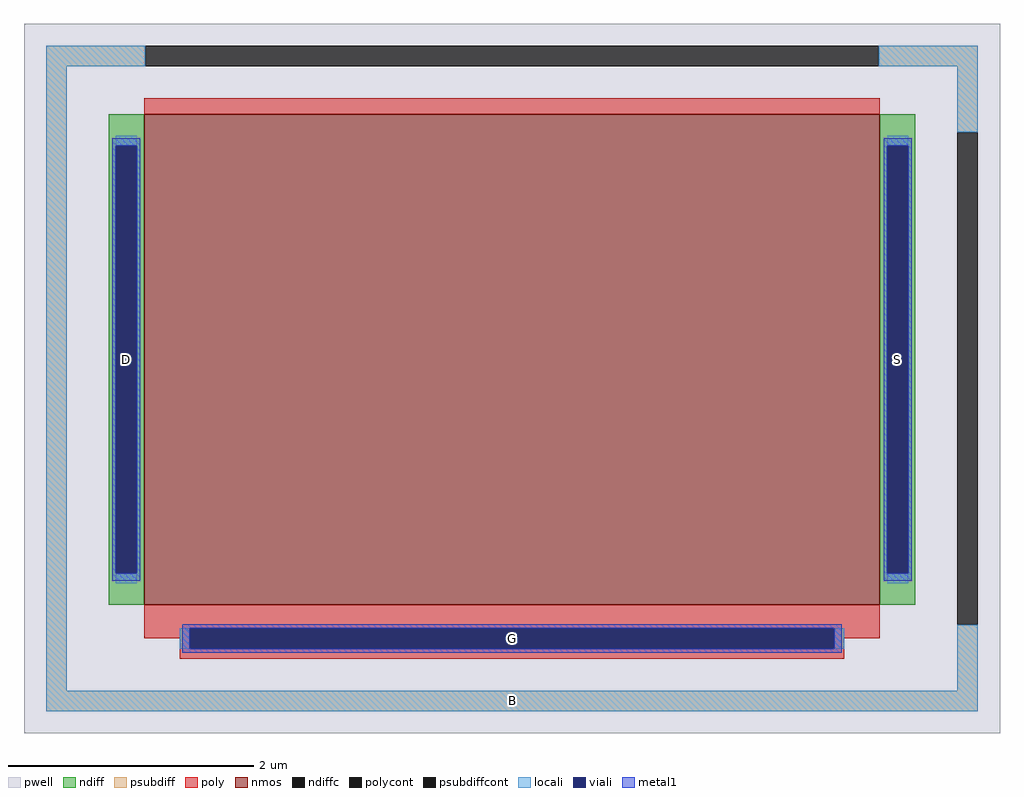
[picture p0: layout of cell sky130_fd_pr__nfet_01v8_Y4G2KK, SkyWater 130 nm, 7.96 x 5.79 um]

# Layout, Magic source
magic
tech sky130A
magscale 1 2
<< pwell >>
rect -796 -579 796 579
<< nmos >>
rect -600 -369 600 431
<< ndiff >>
rect -658 380 -600 431
rect -658 -318 -646 380
rect -612 -318 -600 380
rect -658 -369 -600 -318
rect 600 380 658 431
rect 600 -318 612 380
rect 646 -318 658 380
rect 600 -369 658 -318
<< ndiffc >>
rect -646 -318 -612 380
rect 612 -318 646 380
<< psubdiff >>
rect -760 509 -598 543
rect 598 509 760 543
rect -760 -509 -726 509
rect 726 402 760 509
rect 726 -509 760 -402
rect -760 -543 760 -509
<< psubdiffcont >>
rect -598 509 598 543
rect 726 -402 760 402
<< poly >>
rect -600 431 600 457
rect -600 -407 600 -369
rect -600 -424 -526 -407
rect -542 -441 -526 -424
rect 526 -424 600 -407
rect 526 -441 542 -424
rect -542 -457 542 -441
<< polycont >>
rect -526 -441 526 -407
<< locali >>
rect -760 509 -598 543
rect 598 509 760 543
rect -760 -509 -726 509
rect 726 402 760 509
rect -646 380 -612 396
rect -646 -334 -612 -318
rect 612 380 646 396
rect 612 -334 646 -318
rect -542 -441 -526 -407
rect 526 -441 542 -407
rect 726 -509 760 -402
rect -760 -543 760 -509
<< viali >>
rect -646 -318 -612 380
rect 612 -318 646 380
rect -526 -441 526 -407
<< metal1 >>
rect -652 380 -606 392
rect -652 -318 -646 380
rect -612 -318 -606 380
rect -652 -330 -606 -318
rect 606 380 652 392
rect 606 -318 612 380
rect 646 -318 652 380
rect 606 -330 652 -318
rect -538 -407 538 -401
rect -538 -441 -526 -407
rect 526 -441 538 -407
rect -538 -447 538 -441
<< labels >>
rlabel psubdiff 0 -526 0 -526 0 B
port 1 nsew
rlabel ndiffc -629 31 -629 31 0 D
port 2 nsew
rlabel ndiffc 629 31 629 31 0 S
port 3 nsew
rlabel polycont 0 -424 0 -424 0 G
port 4 nsew
<< properties >>
string FIXED_BBOX -743 -526 743 526
string gencell sky130_fd_pr__nfet_01v8
string library sky130
string parameters w 4 l 6 m 1 nf 1 diffcov 90 polycov 90 guard 1 glc 0 grc 1 gtc 1 gbc 0 tbcov 90 rlcov 90 topc 0 botc 1 poverlap 0 doverlap 1 lmin 0.15 wmin 0.42 class mosfet compatible {sky130_fd_pr__nfet_01v8 sky130_fd_pr__nfet_01v8_lvt  sky130_fd_bs_flash__special_sonosfet_star  sky130_fd_pr__nfet_g5v0d10v5 sky130_fd_pr__nfet_05v0_nvt  sky130_fd_pr__nfet_03v3_nvt} full_metal 1 conn_gates 0 viasrc 90 viadrn 90 viagate 90 viagb 0 viagr 0 viagl 0 viagt 0 doports 1
<< end >>
